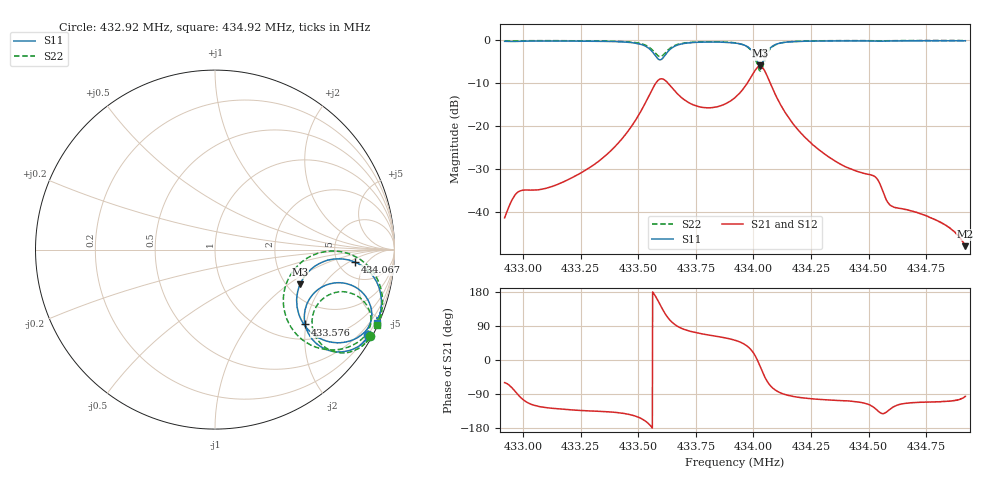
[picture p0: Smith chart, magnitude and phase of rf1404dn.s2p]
!RF1404D Cal'd @ device
# HZ S RI R 50
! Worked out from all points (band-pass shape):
!   1601 points, 432.92 MHz to 434.92 MHz, reference 50 ohm
!   highest |S21| = -5.99 dB at 434.029 MHz (marker M1); lowest = -48.0 dB at 434.92 MHz (marker M2)
!   |S21| within 3 dB of the highest: 433.5957 MHz to 433.6065 MHz (10.75 kHz wide, 0.00248 % of centre); 433.9846 MHz to 434.0653 MHz (80.68 kHz wide, 0.0186 % of centre)
!   lowest |S11| = -5.8 dB at 434.03 MHz (marker M3), VSWR 3.10, Z = 117 - j61.7 ohm
!   |S11| at or under -10 dB: nowhere
!   |S22| runs from -7.1 to 0.0 dB; largest |S21 - S12| = 0.006
!   S11 on the Smith chart (normalised r, x): 432.92 MHz: 0.19, -3.86; 433.576 MHz: 1.36, -1.98; 434.067 MHz: 7.26, -2.59; 434.92 MHz: 0.11, -4.63
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4.3292e8  0.8537 -0.4734  0.00431 -0.00735  0.00451 -0.00724  0.8609 -0.483
4.329825e8  0.8567 -0.4659  -0.00134 -0.0173  -0.00101 -0.0174  0.8632 -0.48
4.332538e8  0.8429 -0.501  -0.0197 -0.0209  -0.0194 -0.0214  0.8475 -0.5117
4.334338e8  0.7901 -0.5444  -0.0569 -0.0466  -0.0563 -0.0479  0.7997 -0.5506
4.335325e8  0.6419 -0.5638  -0.1808 -0.0594  -0.1817 -0.0637  0.6687 -0.5701
4.335763e8  0.5021 -0.4171  -0.3093 0.0722  -0.3141 0.0689  0.5442 -0.4399
4.335875e8  0.502 -0.335  -0.3114 0.1479  -0.3164 0.1451  0.5447 -0.3669
4.336225e8  0.6817 -0.1845  -0.1498 0.2958  -0.1544 0.2947  0.7041 -0.2349
4.336837e8  0.8564 -0.2893  0.0202 0.2195  0.0163 0.2202  0.856 -0.3312
4.338e8  0.8645 -0.412  0.0653 0.15  0.0627 0.152  0.8569 -0.4454
4.3392e8  0.7928 -0.4915  0.1319 0.17  0.1304 0.1732  0.773 -0.5291
4.3399e8  0.5953 -0.4997  0.3353 0.1687  0.3376 0.172  0.5406 -0.5347
4.340287e8  0.4684 -0.2077  0.481 -0.1421  0.4797 -0.1406  0.3978 -0.1888
4.3403e8  0.4738 -0.1942  0.4751 -0.1574  0.4743 -0.1556  0.4044 -0.1729
4.340475e8  0.6157 -0.0633  0.329 -0.3044  0.3282 -0.2997  0.5709 -0.0213
4.340675e8  0.7795 -0.0692  0.1547 -0.3072  0.1566 -0.3023  0.7604 -0.0285
4.341175e8  0.9111 -0.2029  0.0101 -0.1781  0.0135 -0.1767  0.9135 -0.1843
4.342538e8  0.9242 -0.3315  -0.0132 -0.0607  -0.0122 -0.0608  0.9305 -0.3306
4.345275e8  0.9024 -0.3851  -0.0156 -0.0204  -0.0152 -0.0208  0.9074 -0.3923
4.345875e8  0.908 -0.3815  -0.00839 -0.00919  -0.0082 -0.00933  0.9124 -0.3896
4.348138e8  0.9051 -0.4022  -0.00253 -0.00705  -0.00241 -0.00711  0.9102 -0.4113
4.3492e8  0.902 -0.4084  -0.000412 -0.00396  -0.000348 -0.00393  0.905 -0.4187
